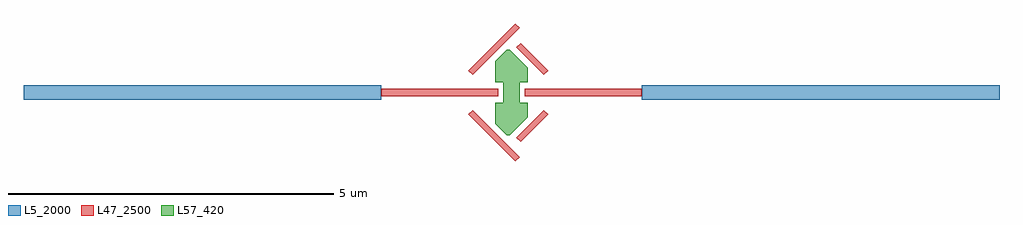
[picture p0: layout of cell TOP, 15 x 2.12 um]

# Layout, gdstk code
import gdstk
lib = gdstk.Library(unit=1e-6, precision=1e-09)
def R(c, l, rs):  # rectangles x0, y0, x1, y1
    for r in rs: c.add(gdstk.rectangle(r[:2], r[2:], *l))
def P(c, l, *ps):  # polygons
    for p in ps: c.add(gdstk.Polygon(p, *l))
L5_2000 = (5, 2000)
L47_2500 = (47, 2500)
L57_420 = (57, 420)

top = lib.new_cell('TOP')
R(top, L5_2000, [(2237.5,2304.89,2243,2305.11), (2247,2304.89,2252.5,2305.11)])
R(top, L47_2500, [(2243,2304.94,2244.8,2305.06), (2245.2,2304.94,2247,2305.06)])
P(top, L47_2500, [(2245.139,2304.24),(2245.075,2304.304),(2245.499,2304.728),(2245.563,2304.664)],
  [(2245.499,2305.272),(2245.075,2305.696),(2245.139,2305.76),(2245.563,2305.336)],
  [(2245.061,2303.94),(2244.337,2304.664),(2244.401,2304.728),(2245.125,2304.004)],
  [(2244.401,2305.272),(2244.337,2305.336),(2245.061,2306.06),(2245.125,2305.996)])
P(top, L57_420, [(2244.93,2304.34),(2244.75,2304.52),(2244.75,2304.84),(2244.875,2304.84),(2244.875,2305.16),(2244.75,2305.16),(2244.75,2305.48),(2244.93,2305.66),(2244.97,2305.66),(2245.25,2305.38),(2245.25,2305.16),(2245.125,2305.16),(2245.125,2304.84),(2245.25,2304.84),(2245.25,2304.62),(2244.97,2304.34)])

lib.write_gds('TOP.gds')
